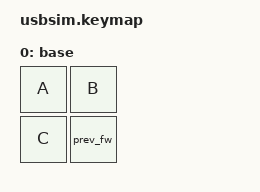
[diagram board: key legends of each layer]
/* SPDX-License-Identifier: GPL-3.0-or-later */

#include <behaviors.dtsi>
#include <dt-bindings/zmk/keys.h>

/ {
	behaviors {
		prev_fw: prev_firmware {
			compatible = "zmk,behavior-prev-firmware";
			#binding-cells = <0>;
			hold-ms = <3000>;
		};
	};

	keymap {
		compatible = "zmk,keymap";

		base {
			bindings = <
				&kp A &kp B
				&kp C &prev_fw
			>;
		};
	};
};
